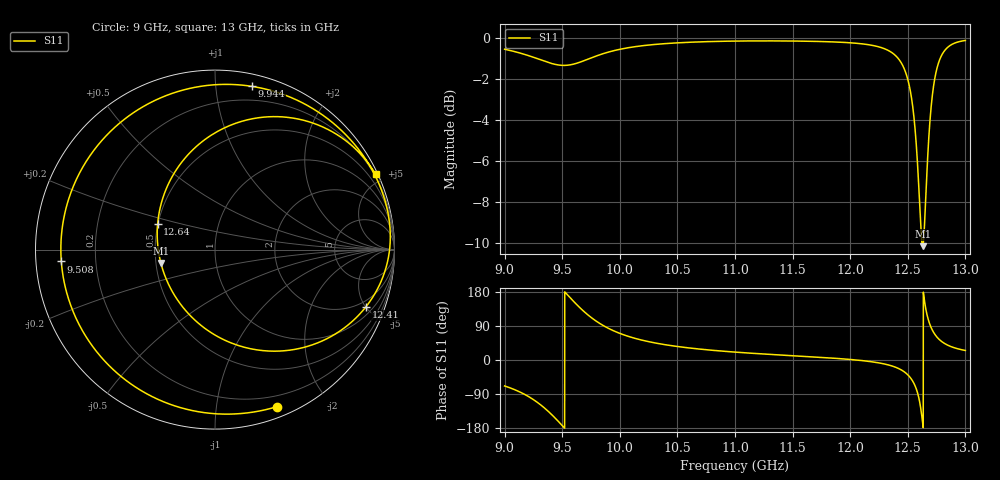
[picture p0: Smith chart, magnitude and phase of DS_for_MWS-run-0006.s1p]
! TOUCHSTONE file generated by CST DESIGN STUDIO
! Date and time: Tue Feb  4 17:42:39 2025
! Project name: C:\Work\MatlabApps\UnitCellOptimizationMatlab\CST\unitcell.cst
! Tree item: Tasks\Sweep1\SPara1\S-Parameters
! Header version: 2024
! Port assignment regex: !\s*Touchstone port\s*([0-9]+)\s*=\s*(CST MWS port|CST DES external port|CST DES block port)\s*(.+)\s* \(\"(.*)\"\)(\s*mode\s*([0-9]+))?.*
! Touchstone port assignment:
! Touchstone port 1 = CST DES external port 1 ("")
# GHz S MA R 50
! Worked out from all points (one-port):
!   4001 points, 9 GHz to 13 GHz, reference 50 ohm
!   lowest |S11| = -10.2 dB at 12.63 GHz (marker M1), VSWR 1.90, Z = 26.6 - j4.42 ohm
!   |S11| at or under -10 dB: 12.62275 GHz to 12.63458 GHz (11.82 MHz wide, 0.0936 % of centre)
!   S11 on the Smith chart (normalised r, x): 9 GHz: 0.10, -1.47; 9.508 GHz: 0.08, -0.04; 9.944 GHz: 0.09, +1.25; 12.41 GHz: 1.50, -5.00; 12.64 GHz: 0.50, +0.16; 13 GHz: 0.13, +4.49
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9  0.9406 -68.5
9.171  0.9141 -90.3
9.289  0.891 -112.8
9.39  0.8711 -138.7
9.5  0.859 -172.9
9.508  0.8589 -175.6
9.599  0.865 154.6
9.715  0.8876 121.1
9.816  0.9097 98.4
9.944  0.9324 77.3
10  0.9401 70.2
10.215  0.9606 50.8
10.5  0.9749 35.6
11  0.9847 20.8
11.5  0.985 11.3
12  0.9753 1.4
12.243  0.9541 -7.3
12.408  0.8989 -20.8
12.5  0.7935 -39.1
12.575  0.5436 -77.4
12.601  0.403 -107.5
12.629  0.3108 -166.0
12.645  0.3499 156.0
12.687  0.5992 97.8
12.731  0.7883 69.5
12.777  0.8873 53.0
12.832  0.9422 41.4
13  0.9881 25.1
